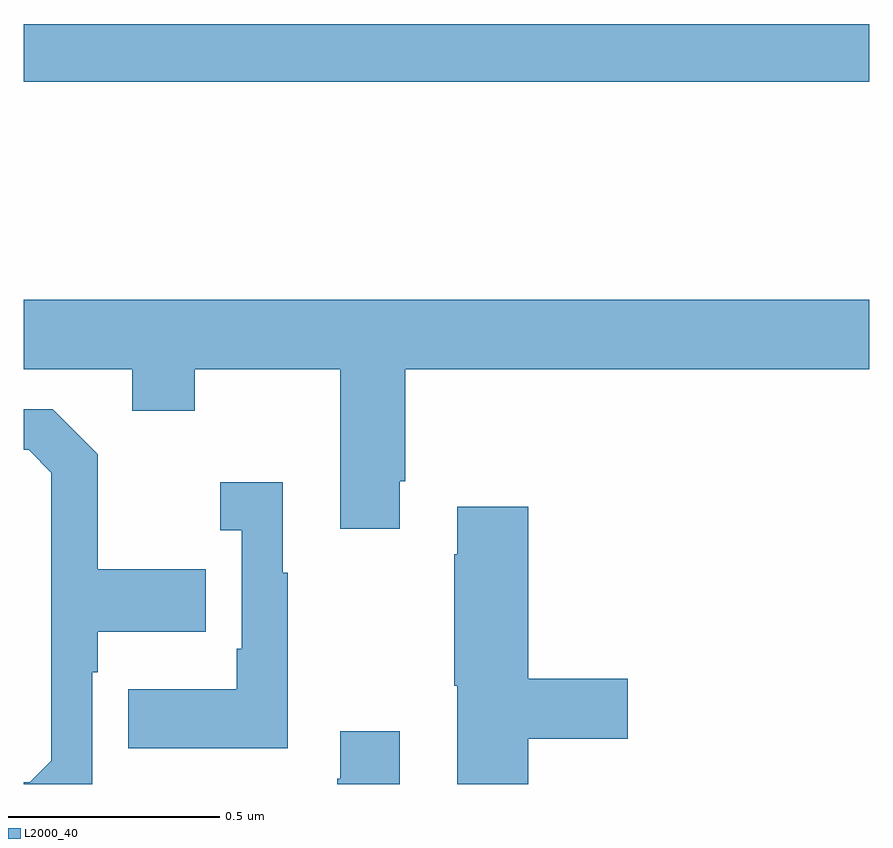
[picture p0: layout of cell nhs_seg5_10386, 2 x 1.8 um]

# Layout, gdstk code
import gdstk
lib = gdstk.Library(unit=1e-6, precision=1e-09)
def R(c, l, rs):  # rectangles x0, y0, x1, y1
    for r in rs: c.add(gdstk.rectangle(r[:2], r[2:], *l))
def P(c, l, *ps):  # polygons
    for p in ps: c.add(gdstk.Polygon(p, *l))
L2000_40 = (2000, 40)

nhs_seg5_10386 = lib.new_cell('nhs_seg5_10386')
R(nhs_seg5_10386, L2000_40, [(246,837.46,248,837.596)])
P(nhs_seg5_10386, L2000_40, [(246.889,836.515),(246.902,836.515),(246.902,836.78),(248,836.78),(248,836.944),(246,836.944),(246,836.78),(246.257,836.78),(246.257,836.681),(246.405,836.681),(246.405,836.78),(246.749,836.78),(246.749,836.403),(246.889,836.403)],
  [(246.162,836.063),(246.175,836.063),(246.175,836.159),(246.431,836.159),(246.431,836.307),(246.175,836.307),(246.175,836.579),(246.069,836.685),(246,836.685),(246,836.589),(246.012,836.589),(246.066,836.535),(246.066,835.854),(246.015,835.803),(246,835.803),(246,835.799),(246.162,835.799)],
  [(246.625,836.299),(246.613,836.299),(246.613,836.512),(246.465,836.512),(246.465,836.399),(246.516,836.399),(246.516,836.119),(246.504,836.119),(246.504,836.023),(246.247,836.023),(246.247,835.883),(246.625,835.883)],
  [(247.193,835.906),(247.429,835.906),(247.429,836.048),(247.193,836.048),(247.193,836.455),(247.025,836.455),(247.025,836.342),(247.018,836.342),(247.018,836.031),(247.025,836.031),(247.025,835.799),(247.193,835.799)],
  [(246.889,835.924),(246.749,835.924),(246.749,835.811),(246.742,835.811),(246.742,835.799),(246.889,835.799)])

lib.write_gds('nhs_seg5_10386.gds')
